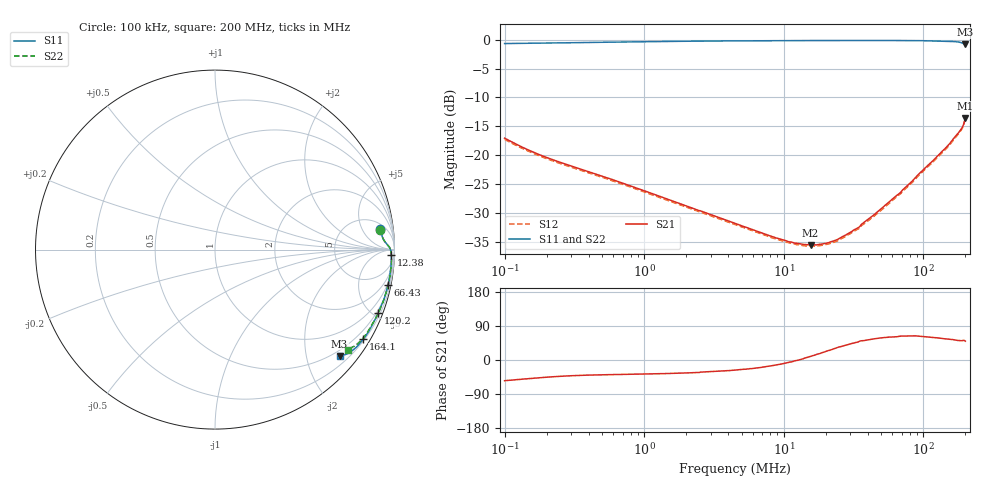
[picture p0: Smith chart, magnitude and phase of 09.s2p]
#  HZ  S  RI  R  50.00
! Rohde & Schwarz Vector Network Analyzer
! Rohde-Schwarz,ZNLE6-2Port,1323001256200024,1.71.1.10-23.02.1.238
! Created: UTC 4/8/2025, 5:30:26 AM
! freq[Hz]  re:S11  im:S11  re:S21  im:S21  re:S12  im:S12  re:S22  im:S22
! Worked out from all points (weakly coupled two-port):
!   1001 points, 100 kHz to 200 MHz, reference 50 ohm
!   highest |S21| = -13.56 dB at 200 MHz (marker M1); lowest = -35.5 dB at 15.56 MHz (marker M2)
!   lowest |S11| = -0.8 dB at 200 MHz (marker M3), VSWR 21.74, Z = 18.9 - j133 ohm
!   |S11| at or under -10 dB: nowhere
!   |S22| runs from -0.6 to -0.1 dB; largest |S21 - S12| = 0.0043
!   S11 on the Smith chart (normalised r, x): 100 kHz: 7, +12; 12.38 MHz: 30, -50; 66.43 MHz: 0.78, -9.94; 120.2 MHz: 0.37, -5.29; 164.1 MHz: 0.25, -3.57; 200 MHz: 0.38, -2.67
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100000  0.9194 0.1139  0.0815 -0.1146  0.0792 -0.1121  0.9216 0.1112
175499.6  0.9313 0.0735  0.0694 -0.0743  0.0676 -0.0727  0.933 0.0719
355854.1  0.9432 0.0479  0.0574 -0.0489  0.056 -0.0478  0.9445 0.0468
1266322  0.9643 0.023  0.0358 -0.0263  0.0349 -0.0257  0.9652 0.0227
4472136  0.977 0.00042  0.023 -0.0116  0.0222 -0.0116  0.978 0.00239
8796434  0.9814 -0.0166  0.0187 -0.00433  0.0182 -0.00485  0.9818 -0.0143
1.238377e7  0.9822 -0.0286  0.0173 -0.000353  0.0168 -0.000628  0.9831 -0.0259
1.55555e7  0.9828 -0.039  0.0165 0.00275  0.0162 0.0023  0.9835 -0.0355
1.591428e7  0.9827 -0.04  0.0165 0.00304  0.0161 0.00274  0.9836 -0.0367
2.092301e7  0.9829 -0.056  0.0158 0.0074  0.0157 0.00676  0.9836 -0.0514
2.399068e7  0.9824 -0.0656  0.0156 0.00992  0.0154 0.00929  0.9833 -0.0603
2.750814e7  0.9819 -0.0761  0.0158 0.0127  0.0155 0.0122  0.9829 -0.0707
3.40322e7  0.98 -0.0965  0.0159 0.0174  0.0156 0.0168  0.9814 -0.0895
5.663162e7  0.971 -0.1648  0.0194 0.0341  0.0196 0.0327  0.9735 -0.153
6.643251e7  0.9651 -0.1949  0.0215 0.0408  0.0225 0.0391  0.9681 -0.1807
8.93554e7  0.9461 -0.2626  0.0293 0.0587  0.0299 0.0566  0.9517 -0.245
1.20188e8  0.9082 -0.3544  0.0473 0.0796  0.0473 0.0768  0.92 -0.3329
1.453405e8  0.8679 -0.4353  0.0656 0.0962  0.0651 0.093  0.8815 -0.4069
1.641358e8  0.826 -0.4989  0.0823 0.1117  0.0821 0.1078  0.8474 -0.4633
1.757569e8  0.7918 -0.5394  0.0951 0.1199  0.0944 0.1162  0.8179 -0.5007
1.853616e8  0.7542 -0.5703  0.1052 0.1292  0.1045 0.1254  0.7877 -0.5297
2e8  0.6939 -0.5919  0.1359 0.1601  0.1347 0.1559  0.7415 -0.5607
